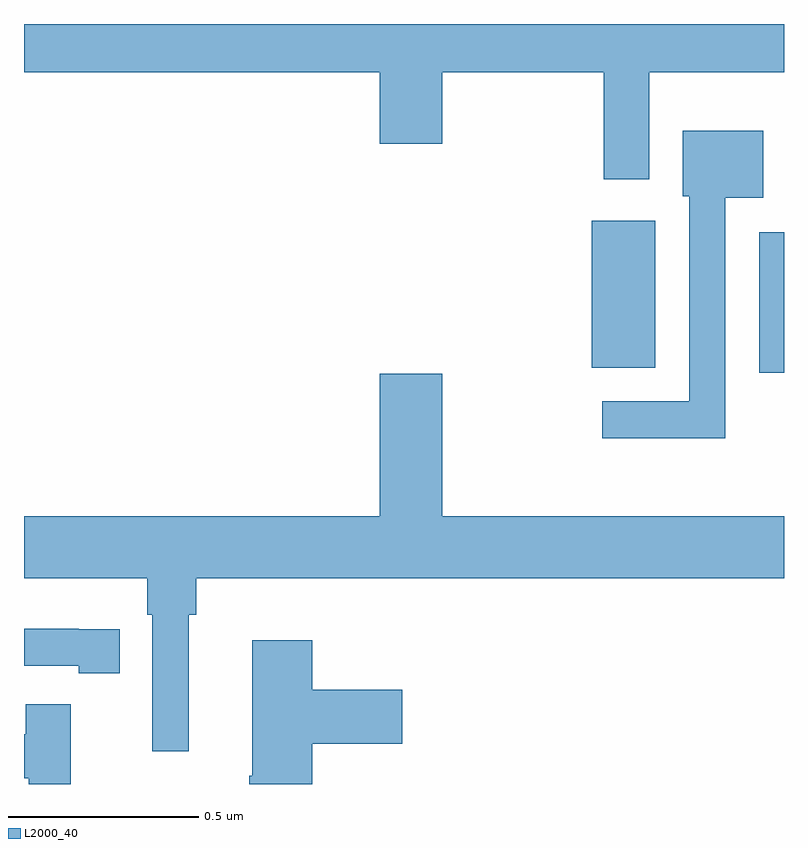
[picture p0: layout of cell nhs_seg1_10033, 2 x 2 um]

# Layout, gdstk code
import gdstk
lib = gdstk.Library(unit=1e-6, precision=1e-09)
def R(c, l, rs):  # rectangles x0, y0, x1, y1
    for r in rs: c.add(gdstk.rectangle(r[:2], r[2:], *l))
def P(c, l, *ps):  # polygons
    for p in ps: c.add(gdstk.Polygon(p, *l))
L2000_40 = (2000, 40)

nhs_seg1_10033 = lib.new_cell('nhs_seg1_10033')
R(nhs_seg1_10033, L2000_40, [(237.935,544.281,238,544.651), (237.494,544.295,237.661,544.681)])
P(nhs_seg1_10033, L2000_40, [(237.646,545.072),(238,545.072),(238,545.199),(236,545.199),(236,545.072),(236.936,545.072),(236.936,544.884),(237.1,544.884),(237.1,545.072),(237.526,545.072),(237.526,544.791),(237.646,544.791)],
  [(237.846,544.742),(237.946,544.742),(237.946,544.918),(237.734,544.918),(237.734,544.746),(237.75,544.746),(237.75,544.206),(237.522,544.206),(237.522,544.109),(237.846,544.109)],
  [(236.434,543.644),(236.453,543.644),(236.453,543.74),(238,543.74),(238,543.904),(237.1,543.904),(237.1,544.279),(236.936,544.279),(236.936,543.904),(236,543.904),(236,543.74),(236.324,543.74),(236.324,543.644),(236.337,543.644),(236.337,543.285),(236.434,543.285)],
  [(236.252,543.606),(236.144,543.606),(236.144,543.607),(236,543.607),(236,543.51),(236.144,543.51),(236.144,543.49),(236.252,543.49)],
  [(236.759,543.305),(236.995,543.305),(236.995,543.447),(236.759,543.447),(236.759,543.577),(236.6,543.577),(236.6,543.221),(236.593,543.221),(236.593,543.199),(236.759,543.199)],
  [(236.123,543.409),(236.005,543.409),(236.005,543.33),(236,543.33),(236,543.214),(236.013,543.214),(236.013,543.199),(236.123,543.199)])

lib.write_gds('nhs_seg1_10033.gds')
